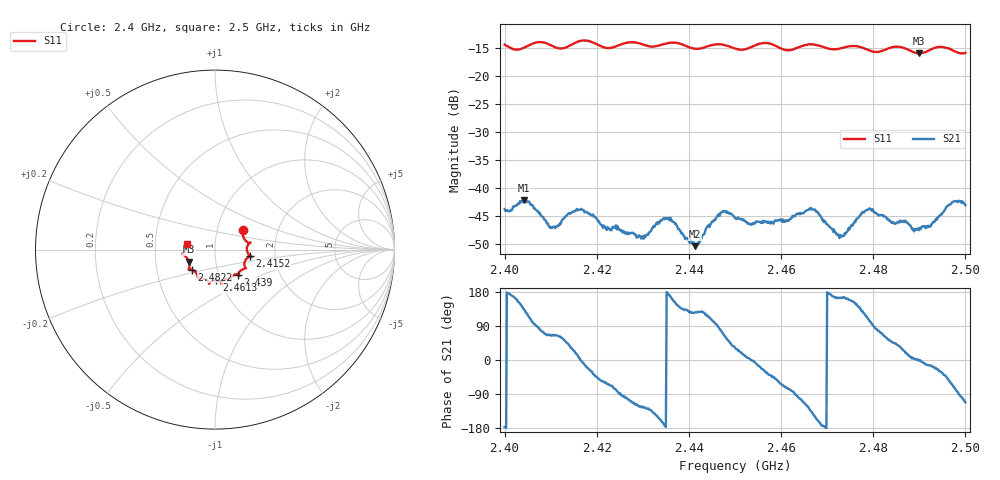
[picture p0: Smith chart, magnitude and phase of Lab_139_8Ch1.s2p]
# Hz S RI R
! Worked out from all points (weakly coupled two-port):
!   601 points, 2.4 GHz to 2.5 GHz, reference 50 ohm
!   highest |S21| = -42.14 dB at 2.4042 GHz (marker M1); lowest = -50.4 dB at 2.4413 GHz (marker M2)
!   lowest |S11| = -15.9 dB at 2.4898 GHz (marker M3), VSWR 1.38, Z = 37 - j5.04 ohm
!   |S11| at or under -10 dB: start of sweep to end of sweep
!   S12 and S22 are empty: the file has one direction only
!   S11 on the Smith chart (normalised r, x): 2.4 GHz: 1.33, +0.31; 2.4152 GHz: 1.48, -0.11; 2.439 GHz: 1.24, -0.36; 2.4613 GHz: 0.96, -0.34; 2.4822 GHz: 0.76, -0.17; 2.5 GHz: 0.73, +0.05
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2.4e9  0.1562 0.1114  -0.00648 -0.000365  0 0  0 0
2.404167e9  0.1739 0.0465  -0.00539 0.00566  0 0  0 0
2.410167e9  0.186 0.0302  0.00191 0.00395  0 0  0 0
2.415167e9  0.1946 -0.036  0.00571 0.00247  0 0  0 0
2.416667e9  0.2041 -0.0419  0.00653 -0.000282  0 0  0 0
2.421667e9  0.1724 -0.055  0.00237 -0.0039  0 0  0 0
2.429167e9  0.1671 -0.1055  -0.00201 -0.0032  0 0  0 0
2.433333e9  0.1331 -0.1326  -0.00441 -0.00232  0 0  0 0
2.435667e9  0.1339 -0.147  -0.00531 0.000774  0 0  0 0
2.439e9  0.1282 -0.1394  -0.00246 0.00274  0 0  0 0
2.441333e9  0.1052 -0.1413  -0.00175 0.00247  0 0  0 0
2.447333e9  0.085 -0.1719  0.002 0.00588  0 0  0 0
2.45e9  0.0685 -0.1635  0.00457 0.00286  0 0  0 0
2.461333e9  0.00797 -0.1707  0.00128 -0.00492  0 0  0 0
2.466667e9  -0.0331 -0.1905  -0.0048 -0.0044  0 0  0 0
2.473e9  -0.0773 -0.1604  -0.00354 0.000988  0 0  0 0
2.478667e9  -0.0993 -0.1419  -0.00242 0.00592  0 0  0 0
2.482167e9  -0.1281 -0.1119  0.00237 0.00522  0 0  0 0
2.483333e9  -0.1395 -0.1102  0.00311 0.00419  0 0  0 0
2.489833e9  -0.1458 -0.0664  0.00433 8.18e-05  0 0  0 0
2.4975e9  -0.1685 -0.00635  0.00242 -0.00721  0 0  0 0
2.5e9  -0.1584 0.0333  -0.00262 -0.00653  0 0  0 0
